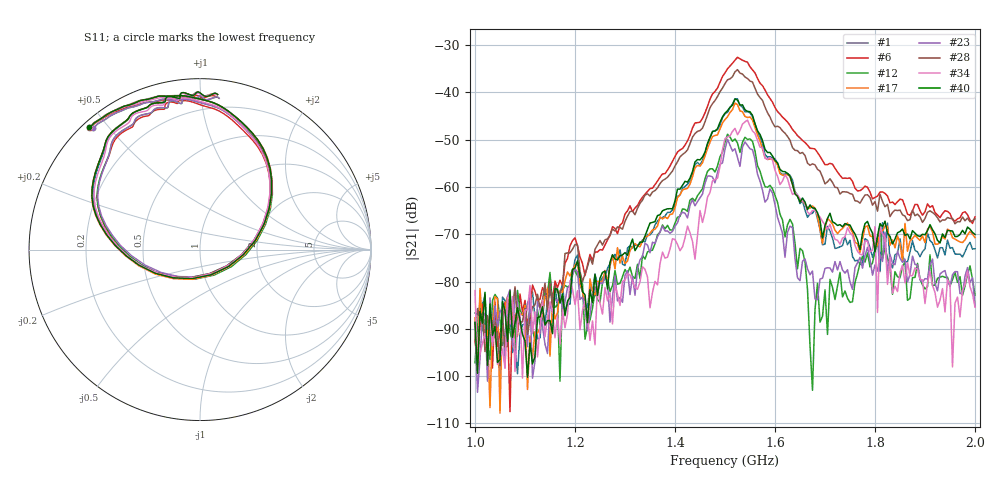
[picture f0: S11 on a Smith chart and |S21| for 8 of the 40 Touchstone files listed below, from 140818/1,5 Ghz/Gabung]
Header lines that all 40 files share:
# Hz S RI R 50
! CMT, C1220, 16058040, 17.2.0/1
! Data: Format (Calibration Info)
! Freq  S11: Re/Im (F2)  S21: Re/Im (F2)  S12: Re/Im (F2)  S22: Re/Im (F2)
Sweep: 1 GHz to 2 GHz
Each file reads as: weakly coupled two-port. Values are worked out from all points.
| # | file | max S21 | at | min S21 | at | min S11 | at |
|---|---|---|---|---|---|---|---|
| 1 | Sudut_110_Titik_3.s2p | -41.34 dB | 1.52 GHz | -101.6 dB | 1.05 GHz | -16.4 dB | 1.53 GHz |
| 2 | Sudut_110_Titik_6.s2p | -47.08 dB | 1.545 GHz | -104.8 dB | 1.06 GHz | -15.1 dB | 1.53 GHz |
| 3 | Sudut_110_Titik_7.s2p | -44.26 dB | 1.545 GHz | -112.1 dB | 1.185 GHz | -15.7 dB | 1.53 GHz |
| 4 | Sudut_110_Titik_8.s2p | -37.92 dB | 1.545 GHz | -102.0 dB | 1.01 GHz | -16.7 dB | 1.53 GHz |
| 5 | Sudut_110_Titik_9.s2p | -35.10 dB | 1.54 GHz | -93.8 dB | 1.015 GHz | -16.9 dB | 1.53 GHz |
| 6 | Sudut_120_Titik_1.s2p | -32.56 dB | 1.525 GHz | -107.5 dB | 1.07 GHz | -15.8 dB | 1.53 GHz |
| 7 | Sudut_120_Titik_2.s2p | -36.36 dB | 1.525 GHz | -103.4 dB | 1.045 GHz | -16.7 dB | 1.53 GHz |
| 8 | Sudut_120_Titik_4.s2p | -48.46 dB | 1.505 GHz | -104.9 dB | 1.225 GHz | -15.2 dB | 1.53 GHz |
| 9 | Sudut_120_Titik_5.s2p | -52.83 dB | 1.535 GHz | -104.5 dB | 1.015 GHz | -15.0 dB | 1.53 GHz |
| 10 | Sudut_120_Titik_7.s2p | -44.05 dB | 1.545 GHz | -109.6 dB | 1.01 GHz | -15.8 dB | 1.53 GHz |
| 11 | Sudut_120_Titik_8.s2p | -37.59 dB | 1.545 GHz | -108.5 dB | 1.04 GHz | -17.0 dB | 1.53 GHz |
| 12 | Sudut_130_Titik_4.s2p | -48.83 dB | 1.505 GHz | -103.0 dB | 1.675 GHz | -15.3 dB | 1.53 GHz |
| 13 | Sudut_130_Titik_6.s2p | -46.97 dB | 1.545 GHz | -104.5 dB | 1.055 GHz | -15.0 dB | 1.53 GHz |
| 14 | Sudut_130_Titik_8.s2p | -37.71 dB | 1.54 GHz | -100.3 dB | 1.03 GHz | -17.2 dB | 1.53 GHz |
| 15 | Sudut_140_Titik_1.s2p | -31.95 dB | 1.525 GHz | -96.9 dB | 1.02 GHz | -15.9 dB | 1.53 GHz |
| 16 | Sudut_140_Titik_2.s2p | -35.89 dB | 1.525 GHz | -98.2 dB | 1.075 GHz | -16.4 dB | 1.53 GHz |
| 17 | Sudut_140_Titik_3.s2p | -42.27 dB | 1.52 GHz | -107.8 dB | 1.05 GHz | -15.7 dB | 1.53 GHz |
| 18 | Sudut_140_Titik_4.s2p | -49.48 dB | 1.505 GHz | -108.6 dB | 1.095 GHz | -15.6 dB | 1.53 GHz |
| 19 | Sudut_140_Titik_5.s2p | -53.17 dB | 1.535 GHz | -106.0 dB | 1.075 GHz | -15.6 dB | 1.53 GHz |
| 20 | Sudut_140_Titik_7.s2p | -43.36 dB | 1.535 GHz | -106.5 dB | 1.045 GHz | -15.9 dB | 1.53 GHz |
| 21 | Sudut_150_Titik_1.s2p | -31.66 dB | 1.525 GHz | -104.5 dB | 1.09 GHz | -15.9 dB | 1.53 GHz |
| 22 | Sudut_150_Titik_3.s2p | -41.99 dB | 1.52 GHz | -99.0 dB | 1.11 GHz | -15.7 dB | 1.53 GHz |
| 23 | Sudut_150_Titik_4.s2p | -49.91 dB | 1.505 GHz | -103.4 dB | 1.005 GHz | -15.9 dB | 1.53 GHz |
| 24 | Sudut_150_Titik_5.s2p | -53.97 dB | 1.535 GHz | -106.0 dB | 1.26 GHz | -16.2 dB | 1.53 GHz |
| 25 | Sudut_150_Titik_6.s2p | -46.50 dB | 1.545 GHz | -98.0 dB | 1.145 GHz | -15.2 dB | 1.53 GHz |
| 26 | Sudut_150_Titik_9.s2p | -34.75 dB | 1.54 GHz | -92.0 dB | 1 GHz | -16.4 dB | 1.53 GHz |
| 27 | Sudut_160_Titik_1.s2p | -31.48 dB | 1.525 GHz | -100.4 dB | 1.045 GHz | -15.9 dB | 1.53 GHz |
| 28 | Sudut_160_Titik_2.s2p | -35.18 dB | 1.525 GHz | -97.7 dB | 1.05 GHz | -16.4 dB | 1.53 GHz |
| 29 | Sudut_160_Titik_9.s2p | -34.44 dB | 1.52 GHz | -94.4 dB | 1 GHz | -16.4 dB | 1.53 GHz |
| 30 | Sudut_170_Titik_1.s2p | -31.40 dB | 1.525 GHz | -96.6 dB | 1.065 GHz | -15.9 dB | 1.53 GHz |
| 31 | Sudut_170_Titik_3.s2p | -41.63 dB | 1.52 GHz | -96.8 dB | 1.075 GHz | -15.7 dB | 1.53 GHz |
| 32 | Sudut_170_Titik_4.s2p | -49.68 dB | 1.505 GHz | -98.0 dB | 1.025 GHz | -16.3 dB | 1.53 GHz |
| 33 | Sudut_170_Titik_5.s2p | -54.00 dB | 1.53 GHz | -99.4 dB | 1.145 GHz | -17.1 dB | 1.53 GHz |
| 34 | Sudut_170_Titik_6.s2p | -45.87 dB | 1.545 GHz | -100.4 dB | 1.095 GHz | -16.0 dB | 1.53 GHz |
| 35 | Sudut_170_Titik_9.s2p | -33.95 dB | 1.52 GHz | -91.1 dB | 1.01 GHz | -16.5 dB | 1.53 GHz |
| 36 | Sudut_180_Titik_1.s2p | -31.39 dB | 1.525 GHz | -97.6 dB | 1.05 GHz | -15.8 dB | 1.53 GHz |
| 37 | Sudut_180_Titik_2.s2p | -35.02 dB | 1.525 GHz | -95.4 dB | 1.06 GHz | -16.6 dB | 1.53 GHz |
| 38 | Sudut_180_Titik_8.s2p | -35.96 dB | 1.54 GHz | -100.6 dB | 1.075 GHz | -16.6 dB | 1.53 GHz |
| 39 | Sudut_190_Titik_2.s2p | -35.07 dB | 1.525 GHz | -103.9 dB | 1.045 GHz | -16.7 dB | 1.53 GHz |
| 40 | Sudut_190_Titik_3.s2p | -41.40 dB | 1.52 GHz | -100.2 dB | 1.105 GHz | -15.9 dB | 1.53 GHz |
